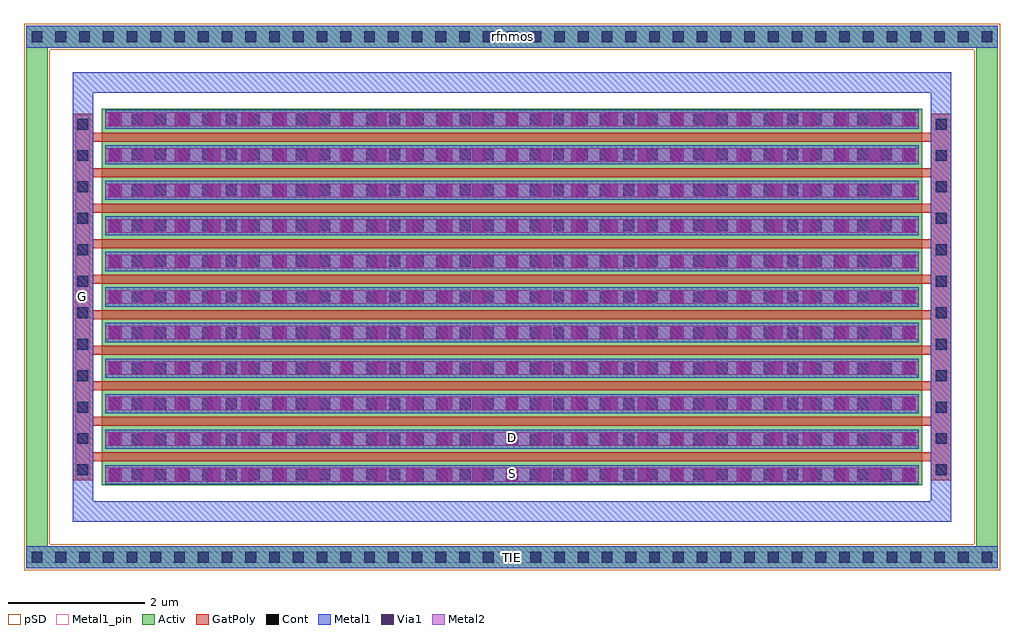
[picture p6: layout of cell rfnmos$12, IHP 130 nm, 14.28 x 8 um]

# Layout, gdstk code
import gdstk
lib = gdstk.Library(unit=1e-6, precision=5e-09)
def R(c, l, rs):  # rectangles x0, y0, x1, y1
    for r in rs: c.add(gdstk.rectangle(r[:2], r[2:], *l))
def A(c, l, x, y, w, h, nx, ny, dx, dy):  # array of equal rectangles
    R(c, l, [(x+i*dx, y+j*dy, x+i*dx+w, y+j*dy+h) for i in range(nx) for j in range(ny)])
def P(c, l, *ps):  # polygons
    for p in ps: c.add(gdstk.Polygon(p, *l))
Activ = (1, 0)
GatPoly = (5, 0)
Cont = (6, 0)
Metal1 = (8, 0)
Metal1_pin = (8, 2)
Metal2 = (10, 0)
pSD = (14, 0)
Via1 = (19, 0)

rfnmos_12 = lib.new_cell('rfnmos$12')
R(rfnmos_12, Activ, [(1.14,1.245,13.14,6.755)])
P(rfnmos_12, Activ, [(0.03,0.03),(0.03,7.65),(0.35,7.65),(0.35,0.35),(13.93,0.35),(13.93,7.65),(0.03,7.65),(0.03,7.97),(14.25,7.97),(14.25,0.03)])
A(rfnmos_12, GatPoly, 1.01, 1.595, 12.26, 0.13, 1, 10, 0, 0.52)
R(rfnmos_12, GatPoly, [(0.71,1.32,1.01,6.68), (13.27,1.32,13.57,6.68)])
A(rfnmos_12, Cont, 1.24, 1.32, 0.16, 0.16, 3, 11, 0.34, 0.52)
A(rfnmos_12, Cont, 2.265, 1.32, 0.16, 0.16, 1, 11, 0, 0.52)
A(rfnmos_12, Cont, 2.605, 1.32, 0.16, 0.16, 1, 11, 0, 0.52)
A(rfnmos_12, Cont, 2.95, 1.32, 0.16, 0.16, 1, 11, 0, 0.52)
A(rfnmos_12, Cont, 3.29, 1.32, 0.16, 0.16, 1, 11, 0, 0.52)
A(rfnmos_12, Cont, 3.635, 1.32, 0.16, 0.16, 1, 11, 0, 0.52)
A(rfnmos_12, Cont, 3.975, 1.32, 0.16, 0.16, 1, 11, 0, 0.52)
A(rfnmos_12, Cont, 4.32, 1.32, 0.16, 0.16, 1, 11, 0, 0.52)
A(rfnmos_12, Cont, 4.66, 1.32, 0.16, 0.16, 1, 11, 0, 0.52)
A(rfnmos_12, Cont, 5.005, 1.32, 0.16, 0.16, 1, 11, 0, 0.52)
A(rfnmos_12, Cont, 5.345, 1.32, 0.16, 0.16, 1, 11, 0, 0.52)
A(rfnmos_12, Cont, 5.69, 1.32, 0.16, 0.16, 1, 11, 0, 0.52)
A(rfnmos_12, Cont, 6.03, 1.32, 0.16, 0.16, 1, 11, 0, 0.52)
A(rfnmos_12, Cont, 6.375, 1.32, 0.16, 0.16, 1, 11, 0, 0.52)
A(rfnmos_12, Cont, 6.715, 1.32, 0.16, 0.16, 1, 11, 0, 0.52)
A(rfnmos_12, Cont, 7.06, 1.32, 0.16, 0.16, 3, 11, 0.34, 0.52)
A(rfnmos_12, Cont, 8.085, 1.32, 0.16, 0.16, 1, 11, 0, 0.52)
A(rfnmos_12, Cont, 8.425, 1.32, 0.16, 0.16, 1, 11, 0, 0.52)
A(rfnmos_12, Cont, 8.77, 1.32, 0.16, 0.16, 1, 11, 0, 0.52)
A(rfnmos_12, Cont, 9.11, 1.32, 0.16, 0.16, 1, 11, 0, 0.52)
A(rfnmos_12, Cont, 9.455, 1.32, 0.16, 0.16, 1, 11, 0, 0.52)
A(rfnmos_12, Cont, 9.795, 1.32, 0.16, 0.16, 1, 11, 0, 0.52)
A(rfnmos_12, Cont, 10.14, 1.32, 0.16, 0.16, 1, 11, 0, 0.52)
A(rfnmos_12, Cont, 10.48, 1.32, 0.16, 0.16, 1, 11, 0, 0.52)
A(rfnmos_12, Cont, 10.825, 1.32, 0.16, 0.16, 1, 11, 0, 0.52)
A(rfnmos_12, Cont, 11.165, 1.32, 0.16, 0.16, 1, 11, 0, 0.52)
A(rfnmos_12, Cont, 11.51, 1.32, 0.16, 0.16, 1, 11, 0, 0.52)
A(rfnmos_12, Cont, 11.85, 1.32, 0.16, 0.16, 1, 11, 0, 0.52)
A(rfnmos_12, Cont, 12.195, 1.32, 0.16, 0.16, 1, 11, 0, 0.52)
A(rfnmos_12, Cont, 12.535, 1.32, 0.16, 0.16, 1, 11, 0, 0.52)
A(rfnmos_12, Cont, 12.88, 1.32, 0.16, 0.16, 1, 11, 0, 0.52)
A(rfnmos_12, Cont, 0.78, 1.39, 0.16, 0.16, 1, 12, 0, 0.46)
A(rfnmos_12, Cont, 13.34, 1.39, 0.16, 0.16, 1, 12, 0, 0.46)
R(rfnmos_12, Cont, [(0.11,0.11,0.27,0.27), (0.455,0.11,0.615,0.27), (0.805,0.11,0.965,0.27), (1.15,0.11,1.31,0.27), (1.5,0.11,1.66,0.27), (1.845,0.11,2.005,0.27), (2.195,0.11,2.355,0.27), (2.54,0.11,2.7,0.27), (2.89,0.11,3.05,0.27), (3.235,0.11,3.395,0.27), (3.585,0.11,3.745,0.27), (3.93,0.11,4.09,0.27), (4.28,0.11,4.44,0.27), (4.625,0.11,4.785,0.27), (4.975,0.11,5.135,0.27), (5.32,0.11,5.48,0.27), (5.67,0.11,5.83,0.27), (6.015,0.11,6.175,0.27), (6.365,0.11,6.525,0.27), (6.71,0.11,6.87,0.27), (7.06,0.11,7.22,0.27), (7.405,0.11,7.565,0.27), (7.755,0.11,7.915,0.27), (8.1,0.11,8.26,0.27), (8.45,0.11,8.61,0.27), (8.795,0.11,8.955,0.27), (9.145,0.11,9.305,0.27), (9.49,0.11,9.65,0.27), (9.84,0.11,10,0.27), (10.185,0.11,10.345,0.27), (10.535,0.11,10.695,0.27), (10.88,0.11,11.04,0.27), (11.23,0.11,11.39,0.27), (11.575,0.11,11.735,0.27), (11.925,0.11,12.085,0.27), (12.27,0.11,12.43,0.27), (12.62,0.11,12.78,0.27), (12.965,0.11,13.125,0.27), (13.315,0.11,13.475,0.27), (13.66,0.11,13.82,0.27), (14.01,0.11,14.17,0.27), (0.11,7.73,0.27,7.89), (0.455,7.73,0.615,7.89), (0.805,7.73,0.965,7.89), (1.15,7.73,1.31,7.89), (1.5,7.73,1.66,7.89), (1.845,7.73,2.005,7.89), (2.195,7.73,2.355,7.89), (2.54,7.73,2.7,7.89), (2.89,7.73,3.05,7.89), (3.235,7.73,3.395,7.89), (3.585,7.73,3.745,7.89), (3.93,7.73,4.09,7.89), (4.28,7.73,4.44,7.89), (4.625,7.73,4.785,7.89), (4.975,7.73,5.135,7.89), (5.32,7.73,5.48,7.89), (5.67,7.73,5.83,7.89), (6.015,7.73,6.175,7.89), (6.365,7.73,6.525,7.89), (6.71,7.73,6.87,7.89), (7.06,7.73,7.22,7.89), (7.405,7.73,7.565,7.89), (7.755,7.73,7.915,7.89), (8.1,7.73,8.26,7.89), (8.45,7.73,8.61,7.89), (8.795,7.73,8.955,7.89), (9.145,7.73,9.305,7.89), (9.49,7.73,9.65,7.89), (9.84,7.73,10,7.89), (10.185,7.73,10.345,7.89), (10.535,7.73,10.695,7.89), (10.88,7.73,11.04,7.89), (11.23,7.73,11.39,7.89), (11.575,7.73,11.735,7.89), (11.925,7.73,12.085,7.89), (12.27,7.73,12.43,7.89), (12.62,7.73,12.78,7.89), (12.965,7.73,13.125,7.89), (13.315,7.73,13.475,7.89), (13.66,7.73,13.82,7.89), (14.01,7.73,14.17,7.89)])
A(rfnmos_12, Metal1, 1.19, 1.26, 11.9, 0.28, 1, 11, 0, 0.52)
R(rfnmos_12, Metal1, [(0.03,0.03,14.25,0.35), (0.76,1.34,0.96,6.66), (13.32,1.34,13.52,6.66), (0.03,7.65,14.25,7.97)])
P(rfnmos_12, Metal1, [(0.71,0.71),(0.71,6.99),(1.01,6.99),(1.01,1.01),(13.27,1.01),(13.27,6.99),(0.71,6.99),(0.71,7.29),(13.57,7.29),(13.57,0.71)])
R(rfnmos_12, Metal1_pin, [(0.03,0.11,14.25,0.27), (0.03,0.11,14.25,0.27), (1.19,1.26,13.09,1.54), (1.19,1.26,13.09,1.54), (0.76,1.34,0.96,6.66), (0.76,1.34,0.96,6.66), (1.19,1.78,13.09,2.06), (1.19,1.78,13.09,2.06)])
A(rfnmos_12, Metal2, 1.19, 1.3, 11.9, 0.2, 1, 11, 0, 0.52)
P(rfnmos_12, pSD, [(0,0),(0,7.62),(0.38,7.62),(0.38,0.38),(13.9,0.38),(13.9,7.62),(0,7.62),(0,8),(14.28,8),(14.28,0)])
A(rfnmos_12, Via1, 1.24, 1.305, 0.19, 0.19, 1, 11, 0, 0.52)
A(rfnmos_12, Via1, 1.72, 1.305, 0.19, 0.19, 4, 11, 0.485, 0.52)
A(rfnmos_12, Via1, 3.655, 1.305, 0.19, 0.19, 4, 11, 0.485, 0.52)
A(rfnmos_12, Via1, 5.59, 1.305, 0.19, 0.19, 4, 11, 0.485, 0.52)
A(rfnmos_12, Via1, 7.525, 1.305, 0.19, 0.19, 4, 11, 0.485, 0.52)
A(rfnmos_12, Via1, 9.46, 1.305, 0.19, 0.19, 4, 11, 0.485, 0.52)
A(rfnmos_12, Via1, 11.395, 1.305, 0.19, 0.19, 4, 11, 0.485, 0.52)
rfnmos_12.add(gdstk.Label('S', (7.14,1.42), layer=63, texttype=0))
rfnmos_12.add(gdstk.Label('D', (7.14,1.94), layer=63, texttype=0))
rfnmos_12.add(gdstk.Label('G', (0.86,4), layer=63, texttype=0))
rfnmos_12.add(gdstk.Label('TIE', (7.14,0.19), layer=63, texttype=0))
rfnmos_12.add(gdstk.Label('rfnmos', (7.14,7.81), layer=63, texttype=0))

lib.write_gds('rfnmos_12.gds')
